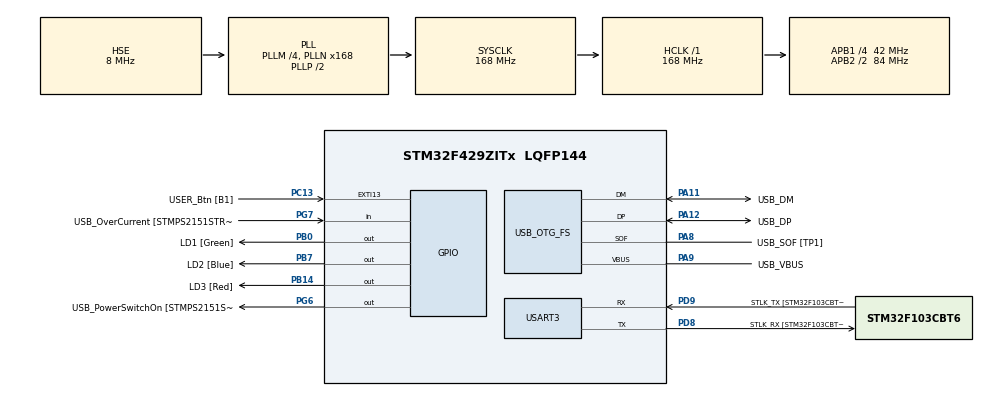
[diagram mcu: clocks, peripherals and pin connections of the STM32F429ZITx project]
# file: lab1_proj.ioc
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ADC1.Channel-0\#ChannelRegularConversion=ADC_CHANNEL_VREFINT
ADC1.NbrOfConversionFlag=1
ADC1.Rank-0\#ChannelRegularConversion=1
ADC1.SamplingTime-0\#ChannelRegularConversion=ADC_SAMPLETIME_3CYCLES
ADC1.master=1
Dma.Request0=USART3_RX
Dma.USART3_RX.0.Direction=DMA_PERIPH_TO_MEMORY
Dma.USART3_RX.0.FIFOMode=DMA_FIFOMODE_DISABLE
Dma.USART3_RX.0.Instance=DMA1_Stream1
Dma.USART3_RX.0.MemDataAlignment=DMA_MDATAALIGN_BYTE
Dma.USART3_RX.0.MemInc=DMA_MINC_ENABLE
Dma.USART3_RX.0.Mode=DMA_NORMAL
Dma.USART3_RX.0.PeriphDataAlignment=DMA_PDATAALIGN_BYTE
Dma.USART3_RX.0.PeriphInc=DMA_PINC_DISABLE
Dma.USART3_RX.0.Priority=DMA_PRIORITY_VERY_HIGH
Mcu.Family=STM32F4
Mcu.Name=STM32F429ZITx
Mcu.Package=LQFP144
NVIC.DMA1_Stream1_IRQn=true\:0\:0\:false\:false\:true\:false\:true
NVIC.EXTI15_10_IRQn=true\:0\:0\:false\:false\:true\:true\:true
NVIC.PriorityGroup=NVIC_PRIORITYGROUP_4
NVIC.USART3_IRQn=true\:0\:0\:false\:false\:true\:true\:true
PA1.GPIO_Label=RMII_REF_CLK [LAN8742A-CZ-TR_REFCLK0]
PA1.Signal=ETH_REF_CLK
PA10.GPIO_Label=USB_ID
PA10.Signal=USB_OTG_FS_ID
PA11.GPIO_Label=USB_DM
PA11.Mode=Device_Only
PA11.Signal=USB_OTG_FS_DM
PA12.GPIO_Label=USB_DP
PA12.Mode=Device_Only
PA12.Signal=USB_OTG_FS_DP
PA13.GPIO_Label=TMS
PA13.Mode=Serial_Wire
PA13.Signal=SYS_JTMS-SWDIO
PA14.GPIO_Label=TCK
PA14.Mode=Serial_Wire
PA14.Signal=SYS_JTCK-SWCLK
PA2.GPIO_Label=RMII_MDIO [LAN8742A-CZ-TR_MDIO]
PA2.Signal=ETH_MDIO
PA7.GPIO_Label=RMII_CRS_DV [LAN8742A-CZ-TR_CRS_DV]
PA7.Signal=ETH_CRS_DV
PA8.GPIO_Label=USB_SOF [TP1]
PA8.Mode=Activate_SOF_FS
PA8.Signal=USB_OTG_FS_SOF
PA9.GPIO_Label=USB_VBUS
PA9.Mode=Activate_VBUS
PA9.Signal=USB_OTG_FS_VBUS
PB0.GPIO_Label=LD1 [Green]
PB0.Signal=GPIO_Output
PB13.GPIO_Label=RMII_TXD1 [LAN8742A-CZ-TR_TXD1]
PB13.Signal=ETH_TXD1
PB14.GPIO_Label=LD3 [Red]
PB14.Signal=GPIO_Output
PB7.GPIO_Label=LD2 [Blue]
PB7.Signal=GPIO_Output
PC1.GPIO_Label=RMII_MDC [LAN8742A-CZ-TR_MDC]
PC1.Signal=ETH_MDC
PC13.GPIO_Label=USER_Btn [B1]
PC13.Signal=GPXTI13
PC14/OSC32_IN.Mode=LSE-External-Oscillator
PC14/OSC32_IN.Signal=RCC_OSC32_IN
PC15/OSC32_OUT.Mode=LSE-External-Oscillator
PC15/OSC32_OUT.Signal=RCC_OSC32_OUT
PC4.GPIO_Label=RMII_RXD0 [LAN8742A-CZ-TR_RXD0]
PC4.Signal=ETH_RXD0
PC5.GPIO_Label=RMII_RXD1 [LAN8742A-CZ-TR_RXD1]
PC5.Signal=ETH_RXD1
PD8.GPIO_Label=STLK_RX [STM32F103CBT6_PA3]
PD8.Mode=Asynchronous
PD8.Signal=USART3_TX
PD9.GPIO_Label=STLK_TX [STM32F103CBT6_PA2]
PD9.Mode=Asynchronous
PD9.Signal=USART3_RX
PG11.GPIO_Label=RMII_TX_EN [LAN8742A-CZ-TR_TXEN]
PG11.Signal=ETH_TX_EN
PG13.GPIO_Label=RMII_TXD0 [LAN8742A-CZ-TR_TXD0]
PG13.Signal=ETH_TXD0
PG6.GPIO_Label=USB_PowerSwitchOn [STMPS2151STR_EN]
PG6.Signal=GPIO_Output
PG7.GPIO_Label=USB_OverCurrent [STMPS2151STR_FAULT]
PG7.Signal=GPIO_Input
PH0/OSC_IN.GPIO_Label=MCO [STM32F103CBT6_PA8]
PH0/OSC_IN.Mode=HSE-External-Clock-Source
PH0/OSC_IN.Signal=RCC_OSC_IN
PH1/OSC_OUT.Mode=HSE-External-Clock-Source
PH1/OSC_OUT.Signal=RCC_OSC_OUT
ProjectManager.HeapSize=0x200
ProjectManager.StackSize=0x400
ProjectManager.TargetToolchain=STM32CubeIDE
RCC.48MHZClocksFreq_Value=48000000
RCC.AHBFreq_Value=168000000
RCC.APB1CLKDivider=RCC_HCLK_DIV4
RCC.APB1Freq_Value=42000000
RCC.APB1TimFreq_Value=84000000
RCC.APB2CLKDivider=RCC_HCLK_DIV2
RCC.APB2Freq_Value=84000000
RCC.APB2TimCLKDivider=2
RCC.APB2TimFreq_Value=168000000
RCC.CortexFreq_Value=168000000
RCC.HCLKFreq_Value=168000000
RCC.HSE_VALUE=8000000
RCC.HSI_VALUE=16000000
RCC.PLLM=4
RCC.PLLMUL=RCC_PLL_MUL9
RCC.PLLN=168
RCC.PLLQ=7
RCC.PRESCALERUSB=RCC_USBCLKSOURCE_PLL_DIV1_5
RCC.SYSCLKFreq_VALUE=168000000
RCC.SYSCLKSource=RCC_SYSCLKSOURCE_PLLCLK
RCC.SYSCLKSourceVirtual=RCC_SYSCLKSOURCE_PLLCLK
RCC.USBFreq_Value=48000000
RCC.VCOOutputFreq_Value=336000000
USART3.VirtualMode=VM_ASYNC
USB_OTG_FS.VirtualMode=Device_Only
VP_ADC1_TempSens_Input.Mode=IN-TempSens
VP_ADC1_Vref_Input.Mode=IN-Vrefint
board=NUCLEO-F429ZI

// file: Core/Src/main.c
/* USER CODE BEGIN Header */
/**
 ******************************************************************************
 * @file           : main.c
 * @brief          : Main program body
 ******************************************************************************
 * @attention
 *
 * <h2><center>&copy; Copyright (c) 2021 STMicroelectronics.
 * All rights reserved.</center></h2>
 *
 * This software component is licensed by ST under BSD 3-Clause license,
 * the "License"; You may not use this file except in compliance with the
 * License. You may obtain a copy of the License at:
 *                        opensource.org/licenses/BSD-3-Clause
 *
 ******************************************************************************
 */
/* USER CODE END Header */
#include "main.h"
#include "adc.h"
#include "dma.h"
#include "usart.h"
#include "usb_otg.h"
#include "gpio.h"

/* USER CODE BEGIN PD */
#define Buff_Size 256
/* USER CODE END PD */

/* USER CODE BEGIN PV */
uint8_t flashing = 1;
uint8_t Receive_buff[Buff_Size];
uint8_t UART_Message = 0;

ADC_ChannelConfTypeDef sConfig =
{ 0 };

extern DMA_HandleTypeDef hdma_usart3_rx;
extern ADC_HandleTypeDef hadc1;
/* USER CODE END PV */

void SystemClock_Config(void);

int main(void)
{

	/* MCU Configuration--------------------------------------------------------*/

	/* Reset of all peripherals, Initializes the Flash interface and the Systick. */
	HAL_Init();

	/* Configure the system clock */
	SystemClock_Config();

	/* Initialize all configured peripherals */
	MX_GPIO_Init();
	MX_DMA_Init();
	MX_USART3_UART_Init();
	MX_ADC1_Init();
	MX_USB_OTG_FS_PCD_Init();
	/* USER CODE BEGIN 2 */
	__HAL_UART_ENABLE_IT(&huart3, UART_IT_IDLE);
	HAL_UART_Receive_DMA(&huart3, Receive_buff, Buff_Size - 1);
	/* USER CODE END 2 */

	/* Infinite loop */
	/* USER CODE BEGIN WHILE */
	while (1)
	{

		if (UART_Message)
		{
			uint8_t str_len = Buff_Size - __HAL_DMA_GET_COUNTER(&hdma_usart3_rx);
			HAL_UART_Receive_DMA(&huart3, Receive_buff, Buff_Size - 1);
			memset(Receive_buff + str_len - 1, 0, Buff_Size - str_len);
			UART_Message = 0;
			if ((Receive_buff[0] == 't' || Receive_buff[0] == 'T')
					&& Receive_buff[1] == ' '
					&& (Receive_buff[2] == 'm' || Receive_buff[2] == 'M')
					&& (Receive_buff[3] == 'c' || Receive_buff[3] == 'C')
					&& (Receive_buff[4] == 'u' || Receive_buff[4] == 'U')
					&& Receive_buff[5] == '?')
			{

				sConfig.Channel = ADC_CHANNEL_16;
				sConfig.Rank = 1;
				sConfig.SamplingTime = ADC_SAMPLETIME_3CYCLES;
				HAL_ADC_ConfigChannel(&hadc1, &sConfig);

				HAL_ADC_Start(&hadc1);
				HAL_ADC_PollForConversion(&hadc1, 0xFFFFFFFF);
				uint16_t val = HAL_ADC_GetValue(&hadc1);
				float temp;
				temp = (float) val / 4096 * 3.3f;
				temp = (1.43f - temp) / 4.3f + 25;
				HAL_ADC_Stop(&hadc1);
				char responseTemp[10];
				sprintf(responseTemp, "T MCU=%dC", (int) temp);
				responseTemp[9] = 0;
				HAL_UART_Transmit(&huart3, (uint8_t*) responseTemp, 10, 0xFFFFFFFF);
			}
			else if ((Receive_buff[0] == 'v' || Receive_buff[0] == 'V')
					&& Receive_buff[1] == ' '
					&& (Receive_buff[2] == 'r' || Receive_buff[2] == 'R')
					&& (Receive_buff[3] == 'e' || Receive_buff[3] == 'E')
					&& (Receive_buff[4] == 'f' || Receive_buff[4] == 'F')
					&& Receive_buff[5] == '?')
			{
				sConfig.Channel = ADC_CHANNEL_VREFINT;
				sConfig.Rank = 1;
				sConfig.SamplingTime = ADC_SAMPLETIME_3CYCLES;
				HAL_ADC_ConfigChannel(&hadc1, &sConfig);

				HAL_ADC_Start(&hadc1);
				HAL_ADC_PollForConversion(&hadc1, 0xFFFFFFFF);
				uint16_t val = HAL_ADC_GetValue(&hadc1);
				float vref = 1.2f * 4096.0f / val;
				HAL_ADC_Stop(&hadc1);
				char responseV[13];
				responseV[12] = 0;
				sprintf(responseV, "V REF=%.2f V", vref);
				HAL_UART_Transmit(&huart3, (uint8_t*) responseV, 13, 0xFFFFFFFF);
			}
			else if ((Receive_buff[0] == 'a' || Receive_buff[0] == 'A')
					&& (Receive_buff[1] == 'l' || Receive_buff[1] == 'L')
					&& (Receive_buff[2] == 'l' || Receive_buff[2] == 'L')
					&& Receive_buff[3] == ' '
					&& (Receive_buff[4] == 's' || Receive_buff[4] == 'S')
					&& (Receive_buff[5] == 'e' || Receive_buff[5] == 'E')
					&& (Receive_buff[6] == 'n' || Receive_buff[6] == 'N')
					&& (Receive_buff[7] == 's' || Receive_buff[7] == 'S')
					&& (Receive_buff[8] == 'e' || Receive_buff[8] == 'E')
					&& Receive_buff[9] == '?')
			{
				sConfig.Channel = ADC_CHANNEL_16;
				sConfig.Rank = 1;
				sConfig.SamplingTime = ADC_SAMPLETIME_3CYCLES;
				HAL_ADC_ConfigChannel(&hadc1, &sConfig);

				HAL_ADC_Start(&hadc1);
				HAL_ADC_PollForConversion(&hadc1, 0xFFFFFFFF);
				uint16_t val = HAL_ADC_GetValue(&hadc1);
				float temp;
				temp = (float) val / 4096 * 3.3f;
				temp = (1.43f - temp) / 4.3f + 25;
				HAL_ADC_Stop(&hadc1);
				char responseTemp[10];
				sprintf(responseTemp, "T MCU=%dC", (int) temp);
				responseTemp[9] = 0;
				HAL_UART_Transmit(&huart3, (uint8_t*) responseTemp, 10, 0xFFFFFFFF);

				sConfig.Channel = ADC_CHANNEL_VREFINT;
				sConfig.Rank = 1;
				sConfig.SamplingTime = ADC_SAMPLETIME_3CYCLES;
				HAL_ADC_ConfigChannel(&hadc1, &sConfig);

				HAL_ADC_Start(&hadc1);
				HAL_ADC_PollForConversion(&hadc1, 0xFFFFFFFF);
				uint16_t vVal = HAL_ADC_GetValue(&hadc1);
				float vref = 1.2f * 4096.0f / vVal;
				HAL_ADC_Stop(&hadc1);
				char responseV[13];
				responseV[12] = 0;
				sprintf(responseV, "V REF=%.2f V", vref);
				HAL_UART_Transmit(&huart3, (uint8_t*) responseV, 13, 0xFFFFFFFF);
			}
			else
			{
				HAL_UART_Transmit(&huart3, (uint8_t*) "Wrong command",
						strlen("Wrong command"), 0xFFFFFFFF);
			}
		}

		if (flashing)
		{
			HAL_GPIO_WritePin(LD2_GPIO_Port, LD2_Pin, GPIO_PIN_SET);
			HAL_GPIO_WritePin(LD3_GPIO_Port, LD3_Pin, GPIO_PIN_RESET);
			HAL_Delay(250);
			HAL_GPIO_WritePin(LD2_GPIO_Port, LD2_Pin, GPIO_PIN_SET);
			HAL_GPIO_WritePin(LD3_GPIO_Port, LD3_Pin, GPIO_PIN_SET);
			HAL_Delay(250);
			HAL_GPIO_WritePin(LD2_GPIO_Port, LD2_Pin, GPIO_PIN_RESET);
			HAL_GPIO_WritePin(LD3_GPIO_Port, LD3_Pin, GPIO_PIN_SET);
			HAL_Delay(250);
			HAL_GPIO_WritePin(LD2_GPIO_Port, LD2_Pin, GPIO_PIN_RESET);
			HAL_GPIO_WritePin(LD3_GPIO_Port, LD3_Pin, GPIO_PIN_RESET);
			HAL_Delay(250);
		}
		/* USER CODE END WHILE */

	}
}

void SystemClock_Config(void)
{
	RCC_OscInitTypeDef RCC_OscInitStruct =
	{ 0 };
	RCC_ClkInitTypeDef RCC_ClkInitStruct =
	{ 0 };

	/** Configure the main internal regulator output voltage
	 */
	__HAL_RCC_PWR_CLK_ENABLE();
	__HAL_PWR_VOLTAGESCALING_CONFIG(PWR_REGULATOR_VOLTAGE_SCALE1);
	/** Initializes the RCC Oscillators according to the specified parameters
	 * in the RCC_OscInitTypeDef structure.
	 */
	RCC_OscInitStruct.OscillatorType = RCC_OSCILLATORTYPE_HSE;
	RCC_OscInitStruct.HSEState = RCC_HSE_BYPASS;
	RCC_OscInitStruct.PLL.PLLState = RCC_PLL_ON;
	RCC_OscInitStruct.PLL.PLLSource = RCC_PLLSOURCE_HSE;
	RCC_OscInitStruct.PLL.PLLM = 4;
	RCC_OscInitStruct.PLL.PLLN = 168;
	RCC_OscInitStruct.PLL.PLLP = RCC_PLLP_DIV2;
	RCC_OscInitStruct.PLL.PLLQ = 7;
	if (HAL_RCC_OscConfig(&RCC_OscInitStruct) != HAL_OK)
	{
		Error_Handler();
	}
	/** Initializes the CPU, AHB and APB buses clocks
	 */
	RCC_ClkInitStruct.ClockType = RCC_CLOCKTYPE_HCLK | RCC_CLOCKTYPE_SYSCLK
			| RCC_CLOCKTYPE_PCLK1 | RCC_CLOCKTYPE_PCLK2;
	RCC_ClkInitStruct.SYSCLKSource = RCC_SYSCLKSOURCE_PLLCLK;
	RCC_ClkInitStruct.AHBCLKDivider = RCC_SYSCLK_DIV1;
	RCC_ClkInitStruct.APB1CLKDivider = RCC_HCLK_DIV4;
	RCC_ClkInitStruct.APB2CLKDivider = RCC_HCLK_DIV2;

	if (HAL_RCC_ClockConfig(&RCC_ClkInitStruct, FLASH_LATENCY_5) != HAL_OK)
	{
		Error_Handler();
	}
}

/* USER CODE BEGIN 4 */
void UART_IRQHandler(UART_HandleTypeDef *huart)
{
	if (RESET != __HAL_UART_GET_FLAG(huart, UART_FLAG_IDLE))
	{
		__HAL_UART_CLEAR_IDLEFLAG(huart);
		UART_IDLECallback(huart);
	}
}

void UART_IDLECallback(UART_HandleTypeDef *huart)
{
	HAL_UART_DMAStop(huart);
	UART_Message = 1;
}
/* USER CODE END 4 */

void Error_Handler(void)
{
	__disable_irq();
	while (1)
	{
	}
}

/************************ (C) COPYRIGHT STMicroelectronics *****END OF FILE****/
